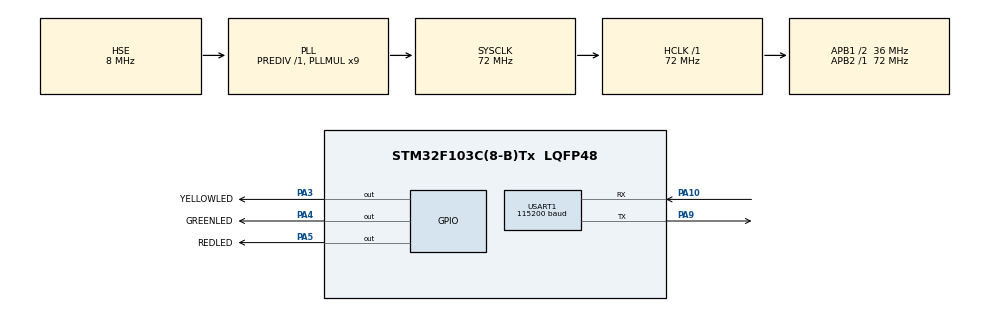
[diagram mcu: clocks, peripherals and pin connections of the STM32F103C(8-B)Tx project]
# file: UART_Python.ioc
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Mcu.Family=STM32F1
Mcu.Name=STM32F103C(8-B)Tx
Mcu.Package=LQFP48
NVIC.PriorityGroup=NVIC_PRIORITYGROUP_4
NVIC.USART1_IRQn=true\:0\:0\:false\:false\:true\:true\:true\:true
PA10.Mode=Asynchronous
PA10.Signal=USART1_RX
PA13.Mode=Serial_Wire
PA13.Signal=SYS_JTMS-SWDIO
PA14.Mode=Serial_Wire
PA14.Signal=SYS_JTCK-SWCLK
PA3.GPIO_Label=YELLOWLED
PA3.Signal=GPIO_Output
PA4.GPIO_Label=GREENLED
PA4.Signal=GPIO_Output
PA5.GPIO_Label=REDLED
PA5.Signal=GPIO_Output
PA9.Mode=Asynchronous
PA9.Signal=USART1_TX
PD0-OSC_IN.Mode=HSE-External-Oscillator
PD0-OSC_IN.Signal=RCC_OSC_IN
PD1-OSC_OUT.Mode=HSE-External-Oscillator
PD1-OSC_OUT.Signal=RCC_OSC_OUT
ProjectManager.HeapSize=0x200
ProjectManager.StackSize=0x400
ProjectManager.TargetToolchain=STM32CubeIDE
RCC.AHBFreq_Value=72000000
RCC.APB1CLKDivider=RCC_HCLK_DIV2
RCC.APB1Freq_Value=36000000
RCC.APB1TimFreq_Value=72000000
RCC.APB2Freq_Value=72000000
RCC.APB2TimFreq_Value=72000000
RCC.HCLKFreq_Value=72000000
RCC.PLLMUL=RCC_PLL_MUL9
RCC.PLLSourceVirtual=RCC_PLLSOURCE_HSE
RCC.SYSCLKFreq_VALUE=72000000
RCC.SYSCLKSource=RCC_SYSCLKSOURCE_PLLCLK
RCC.USBFreq_Value=72000000
USART1.BaudRate=115200
USART1.Mode=MODE_TX_RX
USART1.VirtualMode=VM_ASYNC
board=custom

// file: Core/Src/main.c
/* USER CODE BEGIN Header */
/**
  ******************************************************************************
  * @file           : main.c
  * @brief          : Main program body
  ******************************************************************************
  * @attention
  *
  * Copyright (c) 2023 STMicroelectronics.
  * All rights reserved.
  *
  * This software is licensed under terms that can be found in the LICENSE file
  * in the root directory of this software component.
  * If no LICENSE file comes with this software, it is provided AS-IS.
  *
  ******************************************************************************
  */
/* USER CODE END Header */
#include "main.h"

/* USER CODE BEGIN Includes */

#include "string.h"
#include "stdio.h"

/* USER CODE END Includes */

/* USER CODE BEGIN PD */

#define REDYAK		"Red yak"
#define REDSON		"Red son"
#define GREENYAK	"Gre yak"
#define GREENSON	"Gre son"
#define YELLOWYAK	"Yel yak"
#define YELLOWSON	"Yel son"

/* USER CODE END PD */

UART_HandleTypeDef huart1;

/* USER CODE BEGIN PV */

uint8_t RxBuffer[50];
uint8_t TxBuffer[50];
volatile uint8_t sizee;

/* USER CODE END PV */

void SystemClock_Config(void);
static void MX_GPIO_Init(void);
static void MX_USART1_UART_Init(void);

int main(void)
{

  /* MCU Configuration--------------------------------------------------------*/

  /* Reset of all peripherals, Initializes the Flash interface and the Systick. */
  HAL_Init();

  /* Configure the system clock */
  SystemClock_Config();

  /* Initialize all configured peripherals */
  MX_GPIO_Init();
  MX_USART1_UART_Init();
  /* USER CODE BEGIN 2 */

  HAL_UART_Receive_IT(&huart1, RxBuffer, 7);

  /* USER CODE END 2 */

  /* Infinite loop */
  /* USER CODE BEGIN WHILE */
  while (1)
  {

	  if(HAL_OK == HAL_UART_Receive_IT(&huart1, RxBuffer, 7)){

			if (!(strcmp(REDYAK, (char*) RxBuffer))) {
				sizee = sprintf((char *)TxBuffer, "Kirmizi yandi\n");
				GPIOA->ODR |= (1 << 5);
			}
			if (!(strcmp(REDSON, (char*) RxBuffer))) {
				sizee = sprintf((char *)TxBuffer, "Kirmizi sondu\n");
				GPIOA->ODR &= ~(1 << 5);
			}

			if (!(strcmp(GREENYAK, (char*) RxBuffer))) {
				sizee = sprintf((char *)TxBuffer, "Yesil yandi\n");
				GPIOA->ODR |= (1 << 4);
			}
			if (!(strcmp(GREENSON, (char*) RxBuffer))) {
				sizee = sprintf((char *)TxBuffer, "Yesil sondu\n");
				GPIOA->ODR &= ~(1 << 4);
			}

			if (!(strcmp(YELLOWYAK, (char*) RxBuffer))) {
				sizee = sprintf((char *)TxBuffer, "Sari yandi\n");
				GPIOA->ODR |= (1 << 3);
			}

			if (!(strcmp(YELLOWSON, (char*) RxBuffer))) {
				sizee = sprintf((char *)TxBuffer, "Sari sondu\n");
				GPIOA->ODR &= ~(1 << 3);
			}

			HAL_UART_Transmit_IT(&huart1, TxBuffer, sizee);
	  }

    /* USER CODE END WHILE */

  }
}

void SystemClock_Config(void)
{
  RCC_OscInitTypeDef RCC_OscInitStruct = {0};
  RCC_ClkInitTypeDef RCC_ClkInitStruct = {0};

  /** Initializes the RCC Oscillators according to the specified parameters
  * in the RCC_OscInitTypeDef structure.
  */
  RCC_OscInitStruct.OscillatorType = RCC_OSCILLATORTYPE_HSE;
  RCC_OscInitStruct.HSEState = RCC_HSE_ON;
  RCC_OscInitStruct.HSEPredivValue = RCC_HSE_PREDIV_DIV1;
  RCC_OscInitStruct.HSIState = RCC_HSI_ON;
  RCC_OscInitStruct.PLL.PLLState = RCC_PLL_ON;
  RCC_OscInitStruct.PLL.PLLSource = RCC_PLLSOURCE_HSE;
  RCC_OscInitStruct.PLL.PLLMUL = RCC_PLL_MUL9;
  if (HAL_RCC_OscConfig(&RCC_OscInitStruct) != HAL_OK)
  {
    Error_Handler();
  }

  /** Initializes the CPU, AHB and APB buses clocks
  */
  RCC_ClkInitStruct.ClockType = RCC_CLOCKTYPE_HCLK|RCC_CLOCKTYPE_SYSCLK
                              |RCC_CLOCKTYPE_PCLK1|RCC_CLOCKTYPE_PCLK2;
  RCC_ClkInitStruct.SYSCLKSource = RCC_SYSCLKSOURCE_PLLCLK;
  RCC_ClkInitStruct.AHBCLKDivider = RCC_SYSCLK_DIV1;
  RCC_ClkInitStruct.APB1CLKDivider = RCC_HCLK_DIV2;
  RCC_ClkInitStruct.APB2CLKDivider = RCC_HCLK_DIV1;

  if (HAL_RCC_ClockConfig(&RCC_ClkInitStruct, FLASH_LATENCY_2) != HAL_OK)
  {
    Error_Handler();
  }
}

static void MX_USART1_UART_Init(void)
{

  huart1.Instance = USART1;
  huart1.Init.BaudRate = 115200;
  huart1.Init.WordLength = UART_WORDLENGTH_8B;
  huart1.Init.StopBits = UART_STOPBITS_1;
  huart1.Init.Parity = UART_PARITY_NONE;
  huart1.Init.Mode = UART_MODE_TX_RX;
  huart1.Init.HwFlowCtl = UART_HWCONTROL_NONE;
  huart1.Init.OverSampling = UART_OVERSAMPLING_16;
  if (HAL_UART_Init(&huart1) != HAL_OK)
  {
    Error_Handler();
  }

}

static void MX_GPIO_Init(void)
{
  GPIO_InitTypeDef GPIO_InitStruct = {0};

  /* GPIO Ports Clock Enable */
  __HAL_RCC_GPIOD_CLK_ENABLE();
  __HAL_RCC_GPIOA_CLK_ENABLE();

  /*Configure GPIO pin Output Level */
  HAL_GPIO_WritePin(GPIOA, YELLOWLED_Pin|GREENLED_Pin|REDLED_Pin, GPIO_PIN_RESET);

  /*Configure GPIO pins : YELLOWLED_Pin GREENLED_Pin REDLED_Pin */
  GPIO_InitStruct.Pin = YELLOWLED_Pin|GREENLED_Pin|REDLED_Pin;
  GPIO_InitStruct.Mode = GPIO_MODE_OUTPUT_PP;
  GPIO_InitStruct.Pull = GPIO_NOPULL;
  GPIO_InitStruct.Speed = GPIO_SPEED_FREQ_LOW;
  HAL_GPIO_Init(GPIOA, &GPIO_InitStruct);

}

void Error_Handler(void)
{
  __disable_irq();
  while (1)
  {
  }
}
